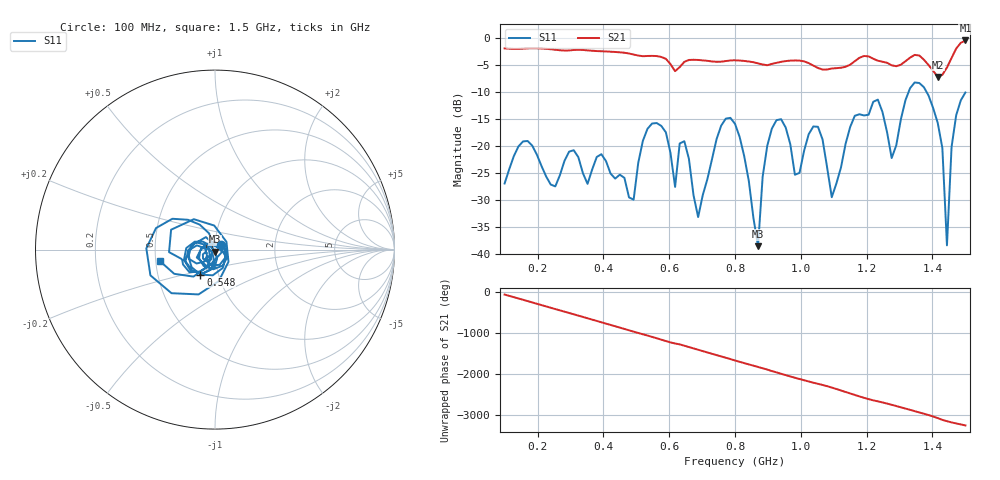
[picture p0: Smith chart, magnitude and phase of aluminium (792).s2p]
! NanoVNA-App
! Date: 2025-09-25 15:01:27
! Start: 100MHz Stop: 1,5GHz Points: 101
! S-Parameter data: F S11 S21 S12 S22
# Hz S RI R 50
!  Frequency  S11_Real  S11_Imag  S21_Real  S21_Imag  S12_Real  S12_Imag  S22_Real  S22_Imag
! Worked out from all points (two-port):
!   101 points, 100 MHz to 1.5 GHz, reference 50 ohm
!   highest |S21| = -0.45 dB at 1.5 GHz (marker M1); lowest = -7.2 dB at 1.416 GHz (marker M2)
!   |S21| within 3 dB of the highest: start of sweep to 571.1 MHz; 1.46 GHz to end of sweep (the widest 2 of 4)
!   lowest |S11| = -38.6 dB at 870 MHz (marker M3), VSWR 1.02, Z = 50 - j1.18 ohm
!   |S11| at or under -10 dB: start of sweep to 1.328 GHz; 1.382 GHz to end of sweep
!   S12 and S22 are empty: the file has one direction only
!   S11 on the Smith chart (normalised r, x): 100 MHz: 1.07, +0.06; 548 MHz: 0.82, -0.23; 1.5 GHz: 0.53, -0.08
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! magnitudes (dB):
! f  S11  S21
! 100 MHz  -27.0  -1.9
! 156 MHz  -19.2  -2.0
! 338 MHz  -25.1  -2.2
! 492 MHz  -30.0  -3.1
! 548 MHz  -15.9  -3.3
! 576 MHz  -16.3  -3.5
! 618 MHz  -27.6  -6.1
! 646 MHz  -19.1  -4.4
! 688 MHz  -33.2  -4.1
! 800 MHz  -15.9  -4.1
! 870 MHz  -38.6  -4.7
! 912 MHz  -16.8  -4.8
! 982 MHz  -25.3  -4.2
! 1.038 GHz  -16.4  -5.1
! 1.094 GHz  -29.5  -5.6
! 1.22 GHz  -11.8  -3.8
! 1.276 GHz  -22.2  -5.1
! 1.346 GHz  -8.2  -3.1
! 1.416 GHz  -15.7  -7.2
! 1.444 GHz  -38.4  -5.5
! 1.458 GHz  -20.2  -3.7
! 1.5 GHz  -10.1  -0.5
